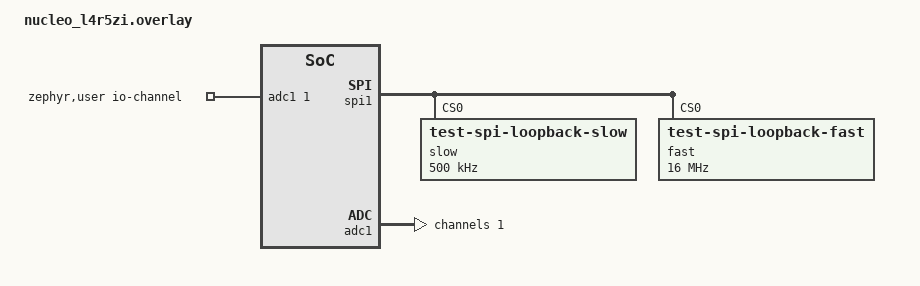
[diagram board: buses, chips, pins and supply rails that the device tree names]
/*
 * Copyright (c) 2020 Erwin Rol <erwin@erwinrol.com>
 *
 * SPDX-License-Identifier: Apache-2.0
 */

&spi1 {
	dmas = <&dmamux1 0 11 (STM32_DMA_PERIPH_TX | STM32_DMA_PRIORITY_HIGH)>,
	       <&dmamux1 7 10 (STM32_DMA_PERIPH_RX | STM32_DMA_PRIORITY_HIGH)>;
	dma-names = "tx", "rx";

	slow@0 {
		compatible = "test-spi-loopback-slow";
		reg = <0>;
		spi-max-frequency = <500000>;
	};

	fast@0 {
		compatible = "test-spi-loopback-fast";
		reg = <0>;
		spi-max-frequency = <16000000>;
	};
};

&dma1 {
	status = "okay";
};

&dma2 {
	status = "okay";
};

&dmamux1 {
	status = "okay";
};

/ {
	zephyr,user {
		io-channels = <&adc1 1>;
	};
};

&adc1 {
	#address-cells = <1>;
	#size-cells = <0>;
	channel@1 {
		reg = <1>;
		zephyr,gain = "ADC_GAIN_1";
		zephyr,reference = "ADC_REF_INTERNAL";
		zephyr,acquisition-time = <ADC_ACQ_TIME_DEFAULT>;
		zephyr,resolution = <10>;
	};
};

dut: &usart3 {
	dmas = <&dmamux1 5 29 STM32_DMA_PERIPH_TX>,
	       <&dmamux1 4 28 STM32_DMA_PERIPH_RX>;
	dma-names = "tx", "rx";
};
